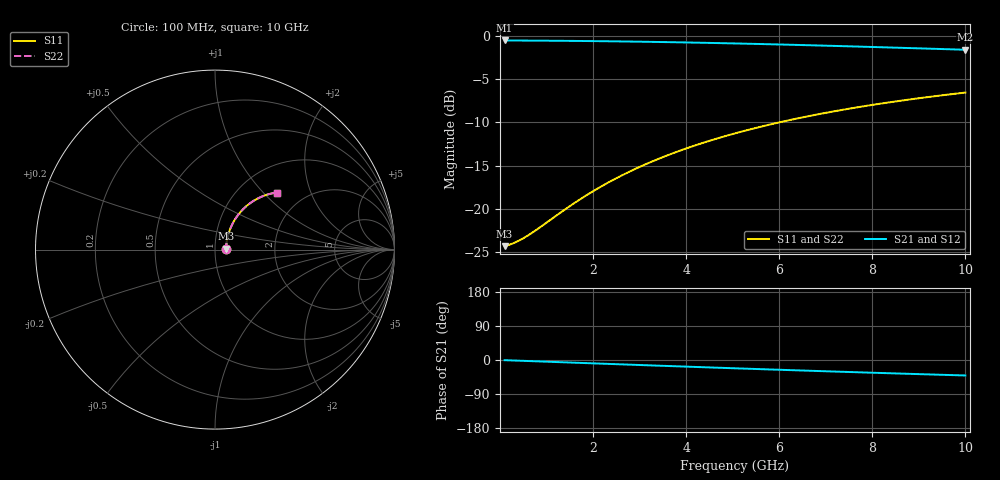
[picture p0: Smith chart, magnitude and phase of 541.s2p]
# Hz S RI R 50.00
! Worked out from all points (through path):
!   100 points, 100 MHz to 10 GHz, reference 50 ohm
!   highest |S21| = -0.54 dB at 100 MHz (marker M1); lowest = -1.6 dB at 10 GHz (marker M2)
!   group delay of S21, straight-line fit = 11.4 ps
!   lowest |S11| = -24.3 dB at 100 MHz (marker M3), VSWR 1.13, Z = 56.5 + j0.576 ohm
!   |S11| at or under -10 dB: start of sweep to 6.005 GHz
!   |S22| runs from -24.3 to -6.6 dB; largest |S21 - S12| = 0
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1e8  0.0607 0.00508  0.9392 -0.0073  0.9392 -0.0073  0.0607 0.00508
2e8  0.0612 0.0102  0.9387 -0.0146  0.9387 -0.0146  0.0612 0.0102
3e8  0.0617 0.0152  0.9383 -0.0219  0.9383 -0.0219  0.0617 0.0152
4e8  0.0622 0.0203  0.9377 -0.0291  0.9377 -0.0291  0.0622 0.0203
6e8  0.0634 0.0303  0.9365 -0.0436  0.9365 -0.0436  0.0634 0.0303
8e8  0.0647 0.0404  0.9351 -0.0581  0.9351 -0.0581  0.0647 0.0404
1.4e9  0.0705 0.0701  0.929 -0.1011  0.929 -0.1011  0.0705 0.0701
1.8e9  0.0758 0.0894  0.9234 -0.1293  0.9234 -0.1293  0.0758 0.0894
2.2e9  0.0822 0.1084  0.9166 -0.1571  0.9166 -0.1571  0.0822 0.1084
2.6e9  0.0896 0.1268  0.9086 -0.1844  0.9086 -0.1844  0.0896 0.1268
3e9  0.0981 0.1446  0.8995 -0.2111  0.8995 -0.2111  0.0981 0.1446
3.4e9  0.1076 0.1617  0.8894 -0.2371  0.8894 -0.2371  0.1076 0.1617
3.8e9  0.118 0.1782  0.8782 -0.2625  0.8782 -0.2625  0.118 0.1782
4.2e9  0.1293 0.1938  0.8661 -0.287  0.8661 -0.287  0.1293 0.1938
4.6e9  0.1414 0.2086  0.8532 -0.3108  0.8532 -0.3108  0.1414 0.2086
5.1e9  0.1575 0.2259  0.8358 -0.3393  0.8358 -0.3393  0.1575 0.2259
5.9e9  0.1852 0.2506  0.8058 -0.3819  0.8058 -0.3819  0.1852 0.2506
6.7e9  0.2148 0.2715  0.7735 -0.4208  0.7735 -0.4208  0.2148 0.2715
7.5e9  0.2458 0.2885  0.7395 -0.456  0.7395 -0.456  0.2458 0.2885
8.4e9  0.2816 0.3032  0.6999 -0.4912  0.6999 -0.4912  0.2816 0.3032
9.2e9  0.3137 0.3123  0.664 -0.5186  0.664 -0.5186  0.3137 0.3123
1e10  0.3457 0.318  0.6279 -0.5428  0.6279 -0.5428  0.3457 0.318
